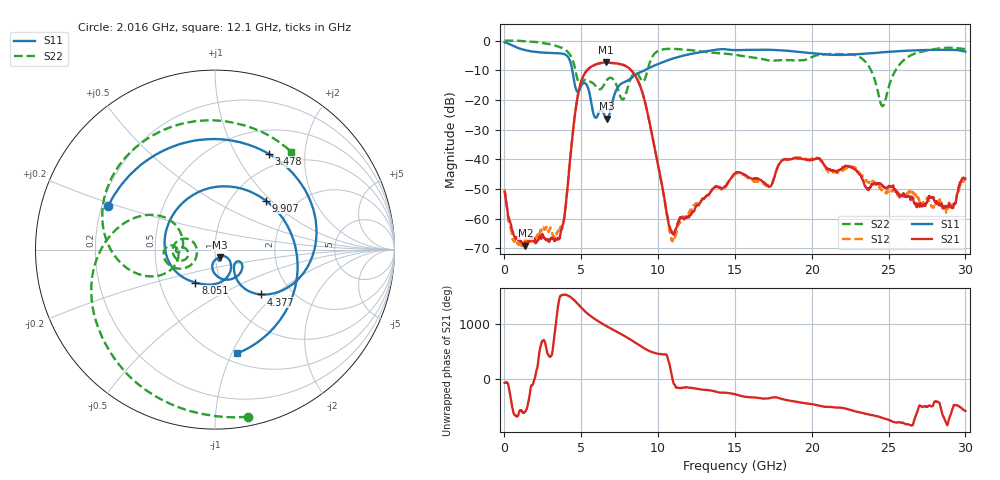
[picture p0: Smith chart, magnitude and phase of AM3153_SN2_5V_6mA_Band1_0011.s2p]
!Agilent Technologies,E8364B,MY43040894,A.07.50.67
!Agilent E8364B: A.07.50.67
!Date: Tuesday, May 12, 2020 09:43:47
!Correction: S11(Full 2 Port(1,2))
!S21(Full 2 Port(1,2))
!S12(Full 2 Port(1,2))
!S22(Full 2 Port(1,2))
!S2P File: Measurements: S11, S21, S12, S22:
# Hz S  dB  R 50
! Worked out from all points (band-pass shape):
!   1601 points, 10 MHz to 30 GHz, reference 50 ohm
!   highest |S21| = -7.38 dB at 6.589 GHz (marker M1); lowest = -69.1 dB at 1.36 GHz (marker M2)
!   |S21| within 3 dB of the highest: 5.32 GHz to 8.315 GHz (2.996 GHz wide, 43.9 % of centre)
!   lowest |S11| = -26.4 dB at 6.664 GHz (marker M3), VSWR 1.10, Z = 52.4 - j4.28 ohm
!   |S11| at or under -10 dB: 4.416 GHz to 9.133 GHz (4.717 GHz wide, 69.6 % of centre)
!   |S22| runs from -22.1 to 0.0 dB; largest |S21 - S12| = 0.0051
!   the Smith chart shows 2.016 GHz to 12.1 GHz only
!   S11 on the Smith chart (normalised r, x): 2.016 GHz: 0.23, +0.18; 3.478 GHz: 0.80, +1.37; 4.377 GHz: 1.41, -0.81; 8.051 GHz: 0.76, -0.29; 9.907 GHz: 1.44, +0.93; 12.1 GHz: 0.59, -1.05
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1e7  -0.59 -11.0  -50.99 -58.6  -50.04 26.2  -0.01 -2.3
1.35955e9  -3.24 -157.0  -69.08 144.0  -67.20 -69.0  -0.28 -53.1
2.015581e9  -3.84 158.0  -68.29 70.0  -65.65 -10.9  -0.46 -78.9
3.477594e9  -4.27 60.8  -66.56 -135.0  -64.25 -101.8  -1.98 -142.1
4.377294e9  -8.96 -44.5  -34.57 26.5  -34.65 26.7  -5.79 162.1
5.014581e9  -15.01 -30.9  -13.47 -155.1  -13.48 -154.9  -14.73 178.8
5.933025e9  -26.03 -73.1  -8.07 -2.5  -8.08 -2.3  -15.29 176.5
6.589056e9  -26.07 -66.0  -7.38 -112.8  -7.42 -112.6  -13.90 -162.5
6.664031e9  -26.37 -58.0  -7.40 -124.6  -7.43 -124.3  -13.34 -165.0
8.051069e9  -13.40 -120.7  -9.08 23.0  -9.12 23.2  -15.30 -147.4
9.9067e9  -8.11 43.9  -39.63 108.0  -39.72 109.8  -3.78 165.7
1.001916e10  -7.87 34.4  -42.49 101.6  -42.63 103.0  -3.43 157.7
1.091886e10  -6.13 -25.4  -64.64 32.1  -67.23 -28.2  -2.79 105.7
1.209972e10  -4.56 -77.8  -58.69 -148.7  -57.32 -148.7  -3.22 52.3
1.5005e10  -3.22 -170.6  -44.77 94.4  -45.07 89.5  -4.76 -65.7
1.794777e10  -3.29 103.6  -41.16 18.8  -41.01 22.3  -6.61 172.7
2.000958e10  -4.28 29.0  -40.26 -82.9  -39.81 -86.4  -5.54 24.8
2.132164e10  -4.79 -24.4  -43.97 -137.7  -44.34 -135.7  -4.49 -77.8
2.278366e10  -4.66 -83.9  -43.40 151.9  -42.67 153.8  -4.81 -162.3
2.501416e10  -3.80 -161.5  -48.92 -9.5  -50.82 -11.6  -15.54 -86.0
2.728216e10  -3.21 134.8  -55.14 -125.4  -54.62 -103.4  -3.58 169.6
3e10  -3.73 75.3  -46.54 153.2  -46.95 157.3  -2.87 92.7
